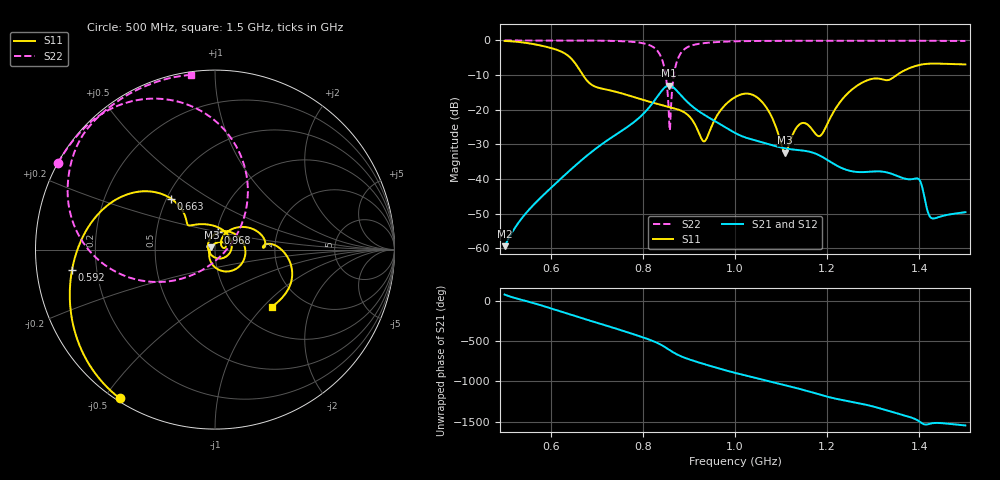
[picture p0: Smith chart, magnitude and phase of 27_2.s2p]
! TOUCHSTONE file generated by CST MICROWAVE STUDIO
! Date and time: Fri Oct  2 16:22:54 2020
! Project name: Scenario_1_Free_Space_out_of_line.cst
! Parameters = {Lambda=346.42; Step_1=17.321; dy1=-103.226; dx1=346; L_HA=400; MT=2.54; Rad_Dielectric=30; Rad_Lower=7.3; Rad_Upper=30; a_HA=580; a_WG=246; b_HA=500; b_WG=121; c_HA=0; c_WG=187; d_feed=85; h_feed=15; h_lower=18; h_upper=40}
! Header version: 2018
! Port assignment regex: !\s*Touchstone port\s*([0-9]+)\s*=\s*(CST MWS port|CST DS port)\s*([0-9]+|Zmin|Zmax)\s*\(\"(.*)\"\)(\s*mode\s*([0-9]+))?.*
! Touchstone port assignment:
! Touchstone port 1 = CST MWS port 1 ("")
! Touchstone port 2 = CST MWS port 2 ("")
# GHz S DB R 50
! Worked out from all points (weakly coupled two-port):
!   1003 points, 500 MHz to 1.5 GHz, reference 50 ohm
!   highest |S21| = -13.02 dB at 857 MHz (marker M1); lowest = -59.4 dB at 500 MHz (marker M2)
!   lowest |S11| = -32.3 dB at 1.109 GHz (marker M3), VSWR 1.05, Z = 48 + j1.32 ohm
!   |S11| at or under -10 dB: 670 MHz to 1.351 GHz (680.7 MHz wide, 67.4 % of centre)
!   |S22| runs from -26.0 to 0.0 dB; largest |S21 - S12| = 0.00011
!   S11 on the Smith chart (normalised r, x): 500 MHz: 0.01, -0.55; 592 MHz: 0.11, -0.07; 663 MHz: 0.53, +0.35; 968 MHz: 1.01, +0.20; 1.5 GHz: 1.42, -1.13
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0.5  -0.14 -122.7  -59.37 78.9  -59.37 78.9  -0.01 151.1
0.592  -1.89 -171.9  -43.63 -77.8  -43.63 -77.8  -0.02 144.6
0.663  -8.54 130.7  -35.00 153.5  -35.00 153.5  -0.04 138.6
0.667  -9.38 129.6  -34.55 146.5  -34.55 146.5  -0.04 138.2
0.778  -16.24 113.3  -23.85 -50.1  -23.85 -50.1  -0.41 120.6
0.834  -18.41 73.0  -15.76 -168.9  -15.76 -168.9  -3.42 86.0
0.847  -18.88 60.4  -13.64 150.0  -13.64 150.0  -8.09 62.4
0.857  -19.24 49.8  -13.02 113.4  -13.02 113.4  -22.99 5.3
0.885  -20.39 11.3  -16.17 27.5  -16.17 27.5  -3.22 -178.6
0.933  -29.13 -150.4  -21.44 -64.6  -21.44 -64.6  -0.77 152.9
0.968  -20.29 80.4  -24.21 -123.6  -24.20 -123.6  -0.41 145.1
1  -16.38 26.8  -26.70 -173.0  -26.70 -173.0  -0.25 140.1
1.058  -17.64 -67.4  -29.34 104.3  -29.34 104.3  -0.15 133.4
1.109  -32.34 145.3  -31.14 32.5  -31.14 32.5  -0.12 128.7
1.139  -24.32 38.7  -31.66 -10.5  -31.66 -10.5  -0.11 126.2
1.167  -25.61 9.7  -32.30 -55.5  -32.30 -55.5  -0.10 124.0
1.187  -27.31 37.7  -33.43 -88.8  -33.43 -88.8  -0.10 122.5
1.268  -12.80 31.6  -37.98 170.5  -37.98 170.5  -0.08 116.3
1.334  -11.38 4.4  -38.24 73.4  -38.24 73.4  -0.09 111.3
1.399  -7.12 -13.9  -40.04 -52.5  -40.01 -53.0  -0.10 106.2
1.427  -6.68 -26.5  -51.32 -79.9  -51.35 -79.6  -0.11 103.9
1.5  -6.92 -44.7  -49.57 -106.1  -49.58 -106.4  -0.15 97.8
